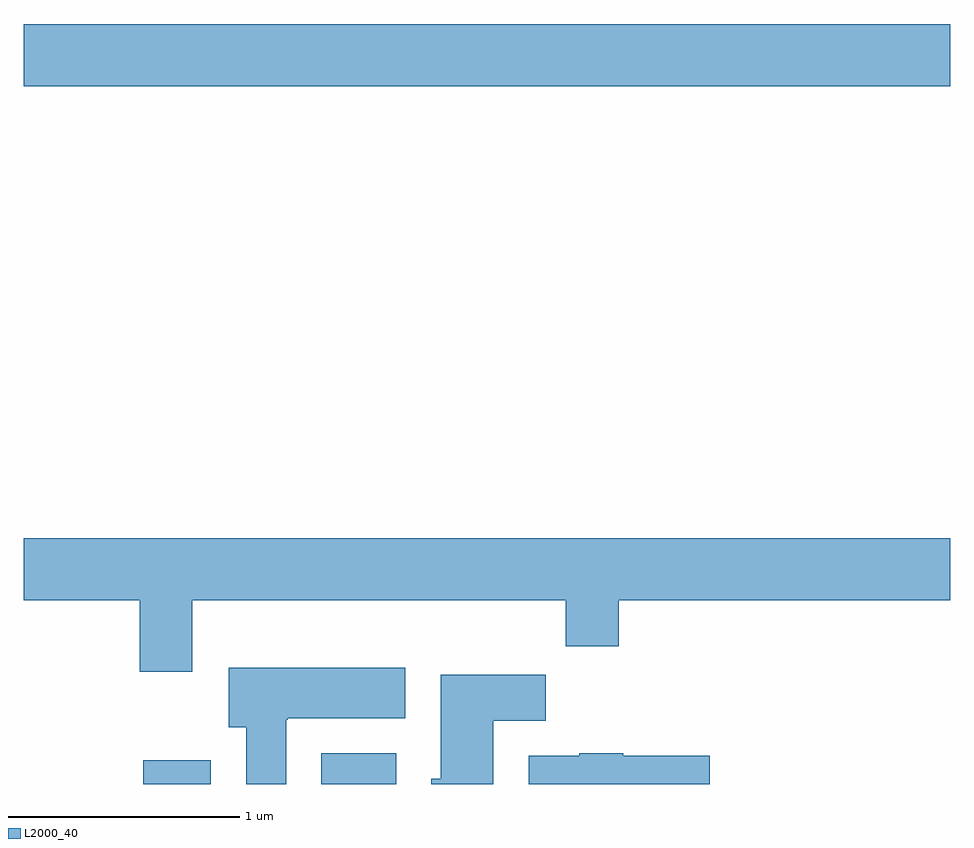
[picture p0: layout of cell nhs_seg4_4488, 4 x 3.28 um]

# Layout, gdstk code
import gdstk
lib = gdstk.Library(unit=1e-6, precision=1e-09)
def R(c, l, rs):  # rectangles x0, y0, x1, y1
    for r in rs: c.add(gdstk.rectangle(r[:2], r[2:], *l))
def P(c, l, *ps):  # polygons
    for p in ps: c.add(gdstk.Polygon(p, *l))
L2000_40 = (2000, 40)

nhs_seg4_4488 = lib.new_cell('nhs_seg4_4488')
R(nhs_seg4_4488, L2000_40, [(318.126,1253.982,318.419,1254.084), (318.896,1253.982,319.219,1254.114), (317.611,1256.996,321.611,1257.264)])
P(nhs_seg4_4488, L2000_40, [(318.339,1254.776),(319.951,1254.776),(319.951,1254.576),(320.179,1254.576),(320.179,1254.776),(321.611,1254.776),(321.611,1255.044),(317.611,1255.044),(317.611,1254.776),(318.111,1254.776),(318.111,1254.466),(318.339,1254.466)],
  [(318.744,1254.26),(318.75,1254.26),(318.75,1254.266),(319.259,1254.266),(319.259,1254.484),(318.496,1254.484),(318.496,1254.226),(318.571,1254.226),(318.571,1253.982),(318.744,1253.982)],
  [(319.639,1254.256),(319.864,1254.256),(319.864,1254.454),(319.411,1254.454),(319.411,1254.004),(319.371,1254.004),(319.371,1253.982),(319.639,1253.982)],
  [(320.574,1254.104),(320.2,1254.104),(320.2,1254.114),(320.01,1254.114),(320.01,1254.104),(319.791,1254.104),(319.791,1253.982),(320.574,1253.982)])

lib.write_gds('nhs_seg4_4488.gds')
